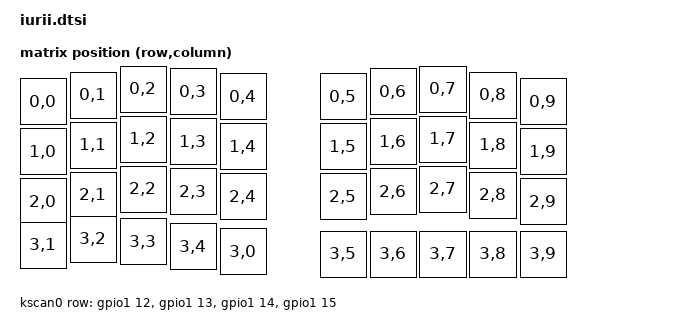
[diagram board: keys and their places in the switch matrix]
#include <dt-bindings/zmk/matrix_transform.h>
#include <physical_layouts.dtsi>

/ {
    chosen {
        zmk,kscan = &kscan0;
        zmk,physical-layout = &physical_layout;
    };

    physical_layout: physical_layout_0 {
        compatible = "zmk,physical-layout";
        display-name = "Iurii 40-key";
        transform = <&default_transform>;
        kscan = <&kscan0>;

        keys  //                   w    h    x    y   rot  rx   ry
            = <&key_physical_attrs 100 100    0   25    0   0    0>   // Q
            , <&key_physical_attrs 100 100  100   12    0   0    0>   // W
            , <&key_physical_attrs 100 100  200    0    0   0    0>   // E
            , <&key_physical_attrs 100 100  300    5    0   0    0>   // R
            , <&key_physical_attrs 100 100  400   15    0   0    0>   // T
            , <&key_physical_attrs 100 100  600   15    0   0    0>   // Y
            , <&key_physical_attrs 100 100  700    5    0   0    0>   // U
            , <&key_physical_attrs 100 100  800    0    0   0    0>   // I
            , <&key_physical_attrs 100 100  900   12    0   0    0>   // O
            , <&key_physical_attrs 100 100 1000   25    0   0    0>   // P
            , <&key_physical_attrs 100 100    0  125    0   0    0>   // A
            , <&key_physical_attrs 100 100  100  112    0   0    0>   // S
            , <&key_physical_attrs 100 100  200  100    0   0    0>   // D
            , <&key_physical_attrs 100 100  300  105    0   0    0>   // F
            , <&key_physical_attrs 100 100  400  115    0   0    0>   // G
            , <&key_physical_attrs 100 100  600  115    0   0    0>   // H
            , <&key_physical_attrs 100 100  700  105    0   0    0>   // J
            , <&key_physical_attrs 100 100  800  100    0   0    0>   // K
            , <&key_physical_attrs 100 100  900  112    0   0    0>   // L
            , <&key_physical_attrs 100 100 1000  125    0   0    0>   // ;
            , <&key_physical_attrs 100 100    0  225    0   0    0>   // Z
            , <&key_physical_attrs 100 100  100  212    0   0    0>   // X
            , <&key_physical_attrs 100 100  200  200    0   0    0>   // C
            , <&key_physical_attrs 100 100  300  205    0   0    0>   // V
            , <&key_physical_attrs 100 100  400  215    0   0    0>   // B
            , <&key_physical_attrs 100 100  600  215    0   0    0>   // N
            , <&key_physical_attrs 100 100  700  205    0   0    0>   // M
            , <&key_physical_attrs 100 100  800  200    0   0    0>   // ,
            , <&key_physical_attrs 100 100  900  212    0   0    0>   // .
            , <&key_physical_attrs 100 100 1000  225    0   0    0>   // /
            , <&key_physical_attrs 100 100    0  312    0   0    0>   // SPC (col1)
            , <&key_physical_attrs 100 100  100  300    0   0    0>   // TAB (col2)
            , <&key_physical_attrs 100 100  200  305    0   0    0>   // ESC (col3)
            , <&key_physical_attrs 100 100  300  315    0   0    0>   // SYM (col4)
            , <&key_physical_attrs 100 100  400  325    0   0    0>   // SHFT (col0)
            , <&key_physical_attrs 100 100  600  330    0   0    0>   // RET (col5)
            , <&key_physical_attrs 100 100  700  330    0   0    0>   // BSPC (col6)
            , <&key_physical_attrs 100 100  800  330    0   0    0>   // CTRL (col7)
            , <&key_physical_attrs 100 100  900  330    0   0    0>   // SHFT (col8)
            , <&key_physical_attrs 100 100 1000  330    0   0    0>   // F13 (col9)
            ;
    };

    default_transform: keymap_transform_0 {
        compatible = "zmk,matrix-transform";
        columns = <10>;
        rows = <4>;
        // Left (5 cols)                          Right (5 cols)
        // | Q  | W  | E  | R  | T  |            | Y  | U  | I  | O  | P  |
        // | A  | S  | D  | F  | G  |            | H  | J  | K  | L  | ;  |
        // | Z  | X  | C  | V  | B  |            | N  | M  | ,  | .  | /  |
        // | SPC| GUI| ALT| mo1|SHFT|            |BSPC|ENT |mo1 |SHFT|CTRL|
        map = <
            RC(0,0) RC(0,1) RC(0,2) RC(0,3) RC(0,4)    RC(0,5) RC(0,6) RC(0,7) RC(0,8) RC(0,9)
            RC(1,0) RC(1,1) RC(1,2) RC(1,3) RC(1,4)    RC(1,5) RC(1,6) RC(1,7) RC(1,8) RC(1,9)
            RC(2,0) RC(2,1) RC(2,2) RC(2,3) RC(2,4)    RC(2,5) RC(2,6) RC(2,7) RC(2,8) RC(2,9)
            RC(3,1) RC(3,2) RC(3,3) RC(3,4) RC(3,0)    RC(3,5) RC(3,6) RC(3,7) RC(3,8) RC(3,9)
        >;
    };

    kscan0: kscan {
        compatible = "zmk,kscan-gpio-matrix";
        wakeup-source;
        diode-direction = "col2row";

        row-gpios
            = <&gpio1 12 (GPIO_ACTIVE_HIGH | GPIO_PULL_DOWN)>  // D7 = row0
            , <&gpio1 13 (GPIO_ACTIVE_HIGH | GPIO_PULL_DOWN)>  // D8 = row1
            , <&gpio1 14 (GPIO_ACTIVE_HIGH | GPIO_PULL_DOWN)>  // D9 = row2
            , <&gpio1 15 (GPIO_ACTIVE_HIGH | GPIO_PULL_DOWN)>  // D10 = row3
            ;
    };
};
